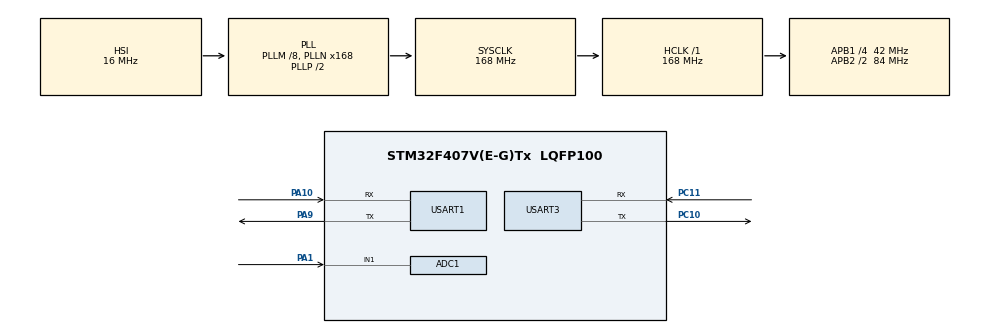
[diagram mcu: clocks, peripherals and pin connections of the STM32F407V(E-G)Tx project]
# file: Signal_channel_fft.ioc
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ADC1.Channel-0\#ChannelRegularConversion=ADC_CHANNEL_1
ADC1.DMAContinuousRequests=ENABLE
ADC1.ExternalTrigConv=ADC_EXTERNALTRIGCONV_T8_TRGO
ADC1.NbrOfConversion=1
ADC1.NbrOfConversionFlag=1
ADC1.Rank-0\#ChannelRegularConversion=1
ADC1.SamplingTime-0\#ChannelRegularConversion=ADC_SAMPLETIME_3CYCLES
ADC1.ScanConvMode=DISABLE
ADC1.master=1
Dma.ADC1.0.Direction=DMA_PERIPH_TO_MEMORY
Dma.ADC1.0.FIFOMode=DMA_FIFOMODE_DISABLE
Dma.ADC1.0.Instance=DMA2_Stream0
Dma.ADC1.0.MemDataAlignment=DMA_MDATAALIGN_WORD
Dma.ADC1.0.MemInc=DMA_MINC_ENABLE
Dma.ADC1.0.Mode=DMA_CIRCULAR
Dma.ADC1.0.PeriphDataAlignment=DMA_PDATAALIGN_WORD
Dma.ADC1.0.PeriphInc=DMA_PINC_DISABLE
Dma.ADC1.0.Priority=DMA_PRIORITY_HIGH
Dma.Request0=ADC1
Mcu.Family=STM32F4
Mcu.Name=STM32F407V(E-G)Tx
Mcu.Package=LQFP100
NVIC.ADC_IRQn=true\:0\:0\:false\:false\:true\:true\:true
NVIC.DMA2_Stream0_IRQn=true\:0\:0\:false\:false\:true\:false\:true
NVIC.PriorityGroup=NVIC_PRIORITYGROUP_2
NVIC.TIM8_BRK_TIM12_IRQn=true\:0\:0\:false\:false\:true\:true\:true
NVIC.TIM8_CC_IRQn=true\:0\:0\:false\:false\:true\:true\:true
NVIC.TIM8_TRG_COM_TIM14_IRQn=true\:0\:0\:false\:false\:true\:true\:true
NVIC.TIM8_UP_TIM13_IRQn=true\:0\:0\:false\:false\:true\:true\:true
NVIC.USART1_IRQn=true\:0\:0\:false\:false\:true\:true\:true
PA1.Signal=ADCx_IN1
PA10.Mode=Asynchronous
PA10.Signal=USART1_RX
PA13.Mode=Serial_Wire
PA13.Signal=SYS_JTMS-SWDIO
PA14.Mode=Serial_Wire
PA14.Signal=SYS_JTCK-SWCLK
PA9.Mode=Asynchronous
PA9.Signal=USART1_TX
PC10.Mode=Asynchronous
PC10.Signal=USART3_TX
PC11.Mode=Asynchronous
PC11.Signal=USART3_RX
PH0-OSC_IN.Mode=HSE-External-Oscillator
PH0-OSC_IN.Signal=RCC_OSC_IN
PH1-OSC_OUT.Mode=HSE-External-Oscillator
PH1-OSC_OUT.Signal=RCC_OSC_OUT
ProjectManager.HeapSize=0x200
ProjectManager.StackSize=0x400
ProjectManager.TargetToolchain=STM32CubeIDE
RCC.48MHZClocksFreq_Value=84000000
RCC.AHBFreq_Value=168000000
RCC.APB1CLKDivider=RCC_HCLK_DIV4
RCC.APB1Freq_Value=42000000
RCC.APB1TimFreq_Value=84000000
RCC.APB2CLKDivider=RCC_HCLK_DIV2
RCC.APB2Freq_Value=84000000
RCC.APB2TimFreq_Value=168000000
RCC.CortexFreq_Value=168000000
RCC.HCLKFreq_Value=168000000
RCC.HSE_VALUE=8000000
RCC.HSI_VALUE=16000000
RCC.LSE_VALUE=32768
RCC.PLLM=8
RCC.PLLN=168
RCC.SYSCLKFreq_VALUE=168000000
RCC.SYSCLKSource=RCC_SYSCLKSOURCE_PLLCLK
RCC.VCOOutputFreq_Value=336000000
SH.ADCx_IN1.0=ADC1_IN1,IN1
TIM8.AutoReloadPreload=TIM_AUTORELOAD_PRELOAD_ENABLE
TIM8.Period=13125-1
TIM8.Prescaler=0
TIM8.TIM_MasterOutputTrigger=TIM_TRGO_UPDATE
USART1.VirtualMode=VM_ASYNC
USART3.VirtualMode=VM_ASYNC
VP_TIM8_VS_ClockSourceINT.Mode=Internal
board=custom

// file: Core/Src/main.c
/* USER CODE BEGIN Header */
/**
 ******************************************************************************
 * @file           : main.c
 * @brief          : Main program body
 ******************************************************************************
 * @attention
 *
 * <h2><center>&copy; Copyright (c) 2023 STMicroelectronics.
 * All rights reserved.</center></h2>
 *
 * This software component is licensed by ST under BSD 3-Clause license,
 * the "License"; You may not use this file except in compliance with the
 * License. You may obtain a copy of the License at:
 *                        opensource.org/licenses/BSD-3-Clause
 *
 ******************************************************************************
 */
/* USER CODE END Header */
#include "main.h"
#include "adc.h"
#include "dma.h"
#include "tim.h"
#include "usart.h"
#include "gpio.h"

void SystemClock_Config(void);
/* USER CODE BEGIN PFP */
/*	函 数 名: cfft
 *	功能说明: 对输入的复数组进行快速傅里叶变换（FFT）
 *	形    参: *_ptr 复数结构体组的首地址指针struct型
 *             FFT_N 表示点数
 *	返 回 值: 无
 *********************************************************************************************************
 */

/* USER CODE END PFP */

int main(void)
{
  /* USER CODE BEGIN 1 */
	uint32_t i = 0;
	float thd_tmp = 0.0;
	float thd_all = 0;
	float THD2_50[51] = { 0 };
  /* USER CODE END 1 */

  /* MCU Configuration--------------------------------------------------------*/

  /* Reset of all peripherals, Initializes the Flash interface and the Systick. */
  HAL_Init();

  /* Configure the system clock */
  SystemClock_Config();

  /* Initialize all configured peripherals */
  MX_GPIO_Init();
  MX_DMA_Init();
  MX_ADC1_Init();
  MX_USART1_UART_Init();
  MX_TIM8_Init();
  MX_USART3_UART_Init();
  /* USER CODE BEGIN 2 */
	HAL_UART_Receive_IT(&huart1, (uint8_t*) g_u1_rx_buffer, 1); //打开串口2中断接收
	HAL_ADC_Start_DMA(&hadc1, (uint32_t*) &ADC1_Value_DMA, DMA_ADC_LENGTH);
	arm_cfft_radix4_instance_f32 scfft;
	arm_cfft_radix4_init_f32(&scfft, FFT_NUM_LENGTH, 0, 1); /* 初始化scfft结构体，设定FFT相关参数 */
	HAL_TIM_Base_Start_IT(&htim8); //定时器2触发adc采集
	HAL_Delay(20);
	HAL_TIM_Base_Stop_IT(&htim8); //定时器2触发adc采集
	for (i = 0; i < FFT_NUM_LENGTH; i++) {
		ADC1_FFT_RAW[i] = 3.3f * ADC1_Value_DMA[i] / 4096;
	}
	printf(
			"--------------------------------------------------------------\r\n");
	printf("采集到的数据：\r\n");
	for (i = 0; i < FFT_NUM_LENGTH; i++) {
		printf("ADC1_FFT_RAW[%ld] = % 0.5f\r\n", i, ADC1_FFT_RAW[i]);
	}

	for (i = 0; i < FFT_NUM_LENGTH; i++) {
		ADC1_FFT_Input[2 * i] = ADC1_FFT_RAW[i];
		ADC1_FFT_Input[2 * i + 1] = 0;
	}
	//		printf("加窗:\r\n");
	//		for (i = 0; i < FFT_NUM_LENGTH; i++) {
	//
	//			ADC1_FFT_RAW[2 * i] = ADC1_FFT_RAW[2 * i]
	//					* (0.5 - 0.5 * cos(2 * M_PI * i / (1024 - 1)));
	//		}
	//		printf(
	//				"--------------------------------------------------------------\r\n");
	//		printf("加窗后电压:\r\n");
	//		for (i = 0; i < FFT_NUM_LENGTH; i++) {
	//			printf("ADC1_FFT_RAW[%ld] = % 0.5f\r\n", 2 * i,
	//					ADC1_FFT_RAW[2 * i]);
	//		}
	//		for (i = 0; i < FFT_NUM_LENGTH; i++) {
	//			printf("% 0.5f\r\n", ADC1_FFT_RAW[2 * i]);
	//		}
	arm_cfft_radix4_f32(&scfft, ADC1_FFT_Input); /* FFT计算（基4） */

	arm_cmplx_mag_f32(ADC1_FFT_Input, ADC1_FFT_Output, FFT_NUM_LENGTH); /* 把运算结果复数求模得幅值 */

	printf(
			"--------------------------------------------------------------\r\n");

	printf("FFT计算结果:\r\n");
	for (i = 0; i < FFT_NUM_LENGTH; i++) {
		printf("%ld点: % 0.5f + %0.5f i \r\n", i, ADC1_FFT_Input[2 * i],
				ADC1_FFT_Input[2 * i + 1]);
	}
	printf(
			"--------------------------------------------------------------\r\n");
	printf("频域幅度:\r\n");
	for (i = 0; i < FFT_NUM_LENGTH; i++) {
		printf("%ld点: %0.5f\r\n", i, ADC1_FFT_Output[i]);
	}
	printf(
			"--------------------------------------------------------------\r\n");
	printf("谐波:\r\n");
	for (i = 2; i < FFT_NUM_LENGTH; i++) {
		printf("%ld次谐波: %0.5f%%\r\n", i, ADC1_FFT_Output[i] / ADC1_FFT_Output[1] * 100);
	}
	for (i = 0; i < FFT_NUM_LENGTH; i++) {
			u3_printf("%0.5f\r\n", i, ADC1_FFT_RAW[i]);
		}
	HAL_Delay(10000);
  /* USER CODE END 2 */

  /* Infinite loop */
	while (1) {

    /* USER CODE BEGIN 3 */

//			printf(
//					"--------------------------------------------------------------\r\n");
//
//			printf("n次谐波对应幅值:\r\n");
//			for (i = 2; i < 51; i++) {
//				thd_tmp += ADC1_FFT_Output[4 * i] * ADC1_FFT_Output[4 * i];
//				printf("%ld次幅值: %0.5f\r\n", i, ADC1_FFT_Output[4 * i]);
//
//			}
//			printf(
//					"--------------------------------------------------------------\r\n");
//
//			printf("畸变率:\r\n");
//
//			thd_all = sqrt(thd_tmp) / ADC1_FFT_Output[4] * 100;
//			printf("总畸变率: %0.5f %%\r\n", thd_all);
//			for (i = 2; i < 51; i++) {
//				printf("%ld 次谐波:%0.3f %%\r\n", i,
//						ADC1_FFT_Output[4 * i] / ADC1_FFT_Output[4] * 100);
//			}
//			thd_tmp = 0;
//			sum_FFT_flag = 0;
//			memset(ADC1_FFT_RAW, 0, sizeof(ADC1_FFT_RAW));
//			memset(ADC1_FFT_Output, 0, sizeof(ADC1_FFT_Output));
//			HAL_TIM_Base_Start_IT(&htim8); //定时器2触发adc采集
	}
  /* USER CODE END 3 */
}

void SystemClock_Config(void)
{
  RCC_OscInitTypeDef RCC_OscInitStruct = {0};
  RCC_ClkInitTypeDef RCC_ClkInitStruct = {0};

  /** Configure the main internal regulator output voltage
  */
  __HAL_RCC_PWR_CLK_ENABLE();
  __HAL_PWR_VOLTAGESCALING_CONFIG(PWR_REGULATOR_VOLTAGE_SCALE1);
  /** Initializes the RCC Oscillators according to the specified parameters
  * in the RCC_OscInitTypeDef structure.
  */
  RCC_OscInitStruct.OscillatorType = RCC_OSCILLATORTYPE_HSI;
  RCC_OscInitStruct.HSIState = RCC_HSI_ON;
  RCC_OscInitStruct.HSICalibrationValue = RCC_HSICALIBRATION_DEFAULT;
  RCC_OscInitStruct.PLL.PLLState = RCC_PLL_ON;
  RCC_OscInitStruct.PLL.PLLSource = RCC_PLLSOURCE_HSI;
  RCC_OscInitStruct.PLL.PLLM = 8;
  RCC_OscInitStruct.PLL.PLLN = 168;
  RCC_OscInitStruct.PLL.PLLP = RCC_PLLP_DIV2;
  RCC_OscInitStruct.PLL.PLLQ = 4;
  if (HAL_RCC_OscConfig(&RCC_OscInitStruct) != HAL_OK)
  {
    Error_Handler();
  }
  /** Initializes the CPU, AHB and APB buses clocks
  */
  RCC_ClkInitStruct.ClockType = RCC_CLOCKTYPE_HCLK|RCC_CLOCKTYPE_SYSCLK
                              |RCC_CLOCKTYPE_PCLK1|RCC_CLOCKTYPE_PCLK2;
  RCC_ClkInitStruct.SYSCLKSource = RCC_SYSCLKSOURCE_PLLCLK;
  RCC_ClkInitStruct.AHBCLKDivider = RCC_SYSCLK_DIV1;
  RCC_ClkInitStruct.APB1CLKDivider = RCC_HCLK_DIV4;
  RCC_ClkInitStruct.APB2CLKDivider = RCC_HCLK_DIV2;

  if (HAL_RCC_ClockConfig(&RCC_ClkInitStruct, FLASH_LATENCY_5) != HAL_OK)
  {
    Error_Handler();
  }
}

void Error_Handler(void)
{
}

/************************ (C) COPYRIGHT STMicroelectronics *****END OF FILE****/
